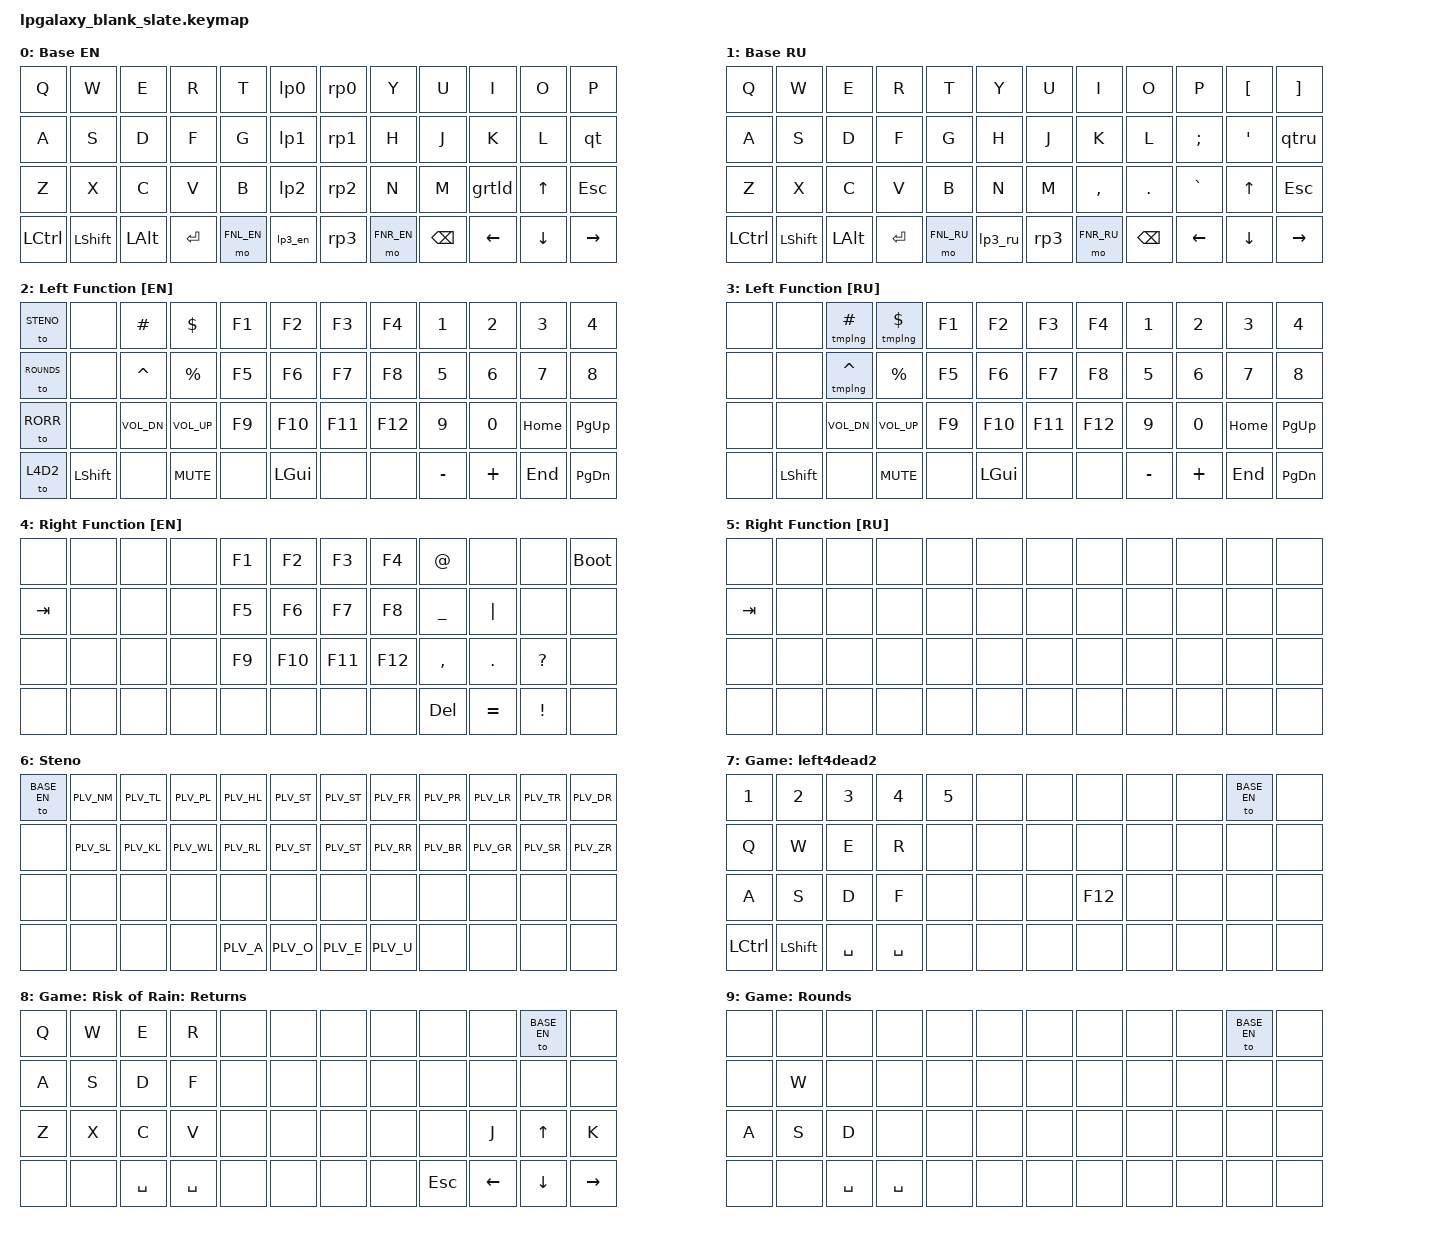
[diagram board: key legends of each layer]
/*
 * Copyright (c) 2022 Pete Johanson
 *
 * SPDX-License-Identifier: MIT
 */

#include <behaviors.dtsi>
#include <dt-bindings/zmk/keys.h>
#include <dt-bindings/zmk/bt.h>
#include <dt-bindings/zmk/outputs.h>

#define MACRO_PLACEHOLDER 0

#define BASE_EN 0
#define BASE_RU 1
#define FNL_EN 2
#define FNL_RU 3
#define FNR_EN 4
#define FNR_RU 5
#define STENO 6
#define L4D2 7
#define RORR 8
#define ROUNDS 9

// Using layer taps on thumbs, having quick tap as well helps w/ repeating space/backspace
&lt { quick_tap_ms = <200>; };

#define BT(n) BT_SEL n

/ {
    chosen {
         zmk,matrix_transform = &ortho_transform;
    };

    macros {
        swlng: switch_language {
            compatible = "zmk,behavior-macro-one-param";
            #binding-cells = <1>;
            bindings
                = <&macro_param_1to1>
                , <&to MACRO_PLACEHOLDER>
                , <&macro_tap &kp CAPS>
                ;
        };

        tmplng: with_temporary_language_switch {
            compatible = "zmk,behavior-macro-one-param";
            #binding-cells = <1>;
            wait-ms = <40>;
            tap-ms = <40>;
            bindings
                = <&macro_tap &kp CAPS>
                , <&macro_param_1to1>
                , <&kp MACRO_PLACEHOLDER>
                , <&macro_tap &kp CAPS>
                ;
        };
    };

    behaviors {
        lp0: left_paired_0 {
            compatible = "zmk,behavior-mod-morph";
            #binding-cells = <0>;
            bindings = <&kp LPAR>, <&kp LT>;
            mods = <(MOD_LSFT|MOD_RSFT)>;
        };

        rp0: right_paired_0 {
            compatible = "zmk,behavior-mod-morph";
            #binding-cells = <0>;
            bindings = <&kp RPAR>, <&kp GT>;
            mods = <(MOD_LSFT|MOD_RSFT)>;
        };

        lp1: left_paired_1 {
            compatible = "zmk,behavior-mod-morph";
            #binding-cells = <0>;
            bindings = <&kp LBRC>, <&kp LBKT>;
            mods = <(MOD_LSFT|MOD_RSFT)>;
        };

        rp1: right_paired_1 {
            compatible = "zmk,behavior-mod-morph";
            #binding-cells = <0>;
            bindings = <&kp RBRC>, <&kp RBKT>;
            mods = <(MOD_LSFT|MOD_RSFT)>;
        };

        lp2: left_paired_2 {
            compatible = "zmk,behavior-mod-morph";
            #binding-cells = <0>;
            bindings = <&kp COLON>, <&kp SLASH>;
            mods = <(MOD_LSFT|MOD_RSFT)>;
        };

        rp2: right_paired_2 {
            compatible = "zmk,behavior-mod-morph";
            #binding-cells = <0>;
            bindings = <&kp SEMI>, <&kp BACKSLASH>;
            mods = <(MOD_LSFT|MOD_RSFT)>;
        };

        lp3_en: left_paired_3_en {
            compatible = "zmk,behavior-mod-morph";
            #binding-cells = <0>;
            bindings = <&swlng BASE_RU>, <&kp AMPS>;
            mods = <(MOD_LSFT|MOD_RSFT)>;
        };

        lp3_ru: left_paired_3_ru {
            compatible = "zmk,behavior-mod-morph";
            #binding-cells = <0>;
            bindings = <&swlng BASE_EN>, <&kp AMPS>;
            mods = <(MOD_LSFT|MOD_RSFT)>;
        };

        rp3: right_paired_3 {
            compatible = "zmk,behavior-mod-morph";
            #binding-cells = <0>;
            bindings = <&kp SPACE>, <&kp STAR>;
            mods = <(MOD_LSFT|MOD_RSFT)>;
        };

        qt: quotes {
            compatible = "zmk,behavior-mod-morph";
            #binding-cells = <0>;
            bindings = <&kp DQT>, <&kp SQT>;
            mods = <(MOD_LSFT|MOD_RSFT)>;
        };

        qtru: quotes_ru {
            compatible = "zmk,behavior-mod-morph";
            #binding-cells = <0>;
            bindings = <&kp LS(N2)>, <&none>; // FIXME: single quote is now writable on йцукен
            mods = <(MOD_LSFT|MOD_RSFT)>;
        };

        grtld: grave_n_tilde {
            compatible = "zmk,behavior-mod-morph";
            #binding-cells = <0>;
            bindings = <&kp GRAVE>, <&kp TILDE>;
            mods = <(MOD_LSFT|MOD_RSFT)>;
        };
    };

    keymap {
        compatible = "zmk,keymap";

        base_en_layer {
            label = "Base EN";
            bindings = <
 &kp Q      &kp W       &kp E      &kp R       &kp T        &lp0    &rp0   &kp Y          &kp U       &kp I     &kp O         &kp P
 &kp A      &kp S       &kp D      &kp F       &kp G        &lp1    &rp1   &kp H          &kp J       &kp K     &kp L         &qt
 &kp Z      &kp X       &kp C      &kp V       &kp B        &lp2    &rp2   &kp N          &kp M       &grtld    &kp UP        &kp ESC
 &kp LCTRL  &kp LSHIFT  &kp LALT   &kp ENTER   &mo FNL_EN   &lp3_en &rp3   &mo FNR_EN     &kp BSPC    &kp LEFT  &kp DOWN      &kp RIGHT
            >;
        };

        base_ru_layer {
            label = "Base RU";
            bindings = <
 &kp Q      &kp W       &kp E      &kp R       &kp T        &kp Y     &kp U   &kp I        &kp O       &kp P     &kp LBKT   &kp RBKT
 &kp A      &kp S       &kp D      &kp F       &kp G        &kp H     &kp J   &kp K        &kp L       &kp SEMI  &kp SQT    &qtru
 &kp Z      &kp X       &kp C      &kp V       &kp B        &kp N     &kp M   &kp COMMA    &kp DOT     &kp GRAVE &kp UP     &kp ESC
 &kp LCTRL  &kp LSHIFT  &kp LALT   &kp ENTER   &mo FNL_RU   &lp3_ru   &rp3    &mo FNR_RU   &kp BSPC    &kp LEFT  &kp DOWN   &kp RIGHT
            >;
        };

        left_function_en_layer {
            label = "Left Function [EN]";
            bindings = <
&to STENO  &none      &kp HASH      &kp DOLLAR  &kp F1     &kp F2     &kp F3     &kp F4     &kp N1     &kp N2     &kp N3     &kp N4
&to ROUNDS &none      &kp CARET     &kp PERCENT     &kp F5     &kp F6     &kp F7     &kp F8     &kp N5     &kp N6     &kp N7     &kp N8
&to RORR   &none      &kp C_VOL_DN  &kp C_VOL_UP    &kp F9     &kp F10    &kp F11    &kp F12    &kp N9     &kp N0     &kp HOME   &kp PG_UP
&to L4D2   &kp LSHFT  &none         &kp C_MUTE      &none      &kp LGUI   &none      &none      &kp MINUS  &kp PLUS   &kp END    &kp PG_DN
            >;
        };

        left_function_ru_layer {
            label = "Left Function [RU]";
            bindings = <
&none      &none      &tmplng HASH  &tmplng DOLLAR  &kp F1     &kp F2     &kp F3     &kp F4     &kp N1     &kp N2     &kp N3     &kp N4
&none      &none      &tmplng CARET &kp PERCENT     &kp F5     &kp F6     &kp F7     &kp F8     &kp N5     &kp N6     &kp N7     &kp N8
&none      &none      &kp C_VOL_DN  &kp C_VOL_UP    &kp F9     &kp F10    &kp F11    &kp F12    &kp N9     &kp N0     &kp HOME   &kp PG_UP
&none      &kp LSHFT  &none         &kp C_MUTE      &none      &kp LGUI   &none      &none      &kp MINUS  &kp PLUS   &kp END    &kp PG_DN
            >;
        };

        right_function_en_layer {
            label = "Right Function [EN]";
            bindings = <
&none      &none      &none      &none      &kp F1     &kp F2     &kp F3     &kp F4     &kp AT     &none        &none     &bootloader
&kp TAB    &none      &none      &none      &kp F5     &kp F6     &kp F7     &kp F8     &kp UNDER  &kp PIPE     &none     &none
&none      &none      &none      &none      &kp F9     &kp F10    &kp F11    &kp F12    &kp COMMA  &kp DOT      &kp QMARK &none
&none      &none      &none      &none      &none      &none      &none      &none      &kp DEL    &kp EQUAL    &kp EXCL  &none
            >;
        };

        right_function_ru_layer {
            label = "Right Function [RU]";
            bindings = <
&none      &none      &none      &none      &none      &none      &none      &none      &none      &none      &none      &none
&kp TAB    &none      &none      &none      &none      &none      &none      &none      &none      &none      &none      &none
&none      &none      &none      &none      &none      &none      &none      &none      &none      &none      &none      &none
&none      &none      &none      &none      &none      &none      &none      &none      &none      &none      &none      &none
            >;
        };

        // See <https://github.com/lazerwalker/zmk-config/blob/10b4fc227eed620ea1d2c492992419886ff89beb/config/corne.keymap#L332-L346>
        steno_layer {
            display-name = "Steno";
            bindings = <
&to BASE_EN &kp PLV_NM &kp PLV_TL &kp PLV_PL &kp PLV_HL &kp PLV_ST   &kp PLV_ST &kp PLV_FR &kp PLV_PR &kp PLV_LR &kp PLV_TR &kp PLV_DR
&none &kp PLV_SL &kp PLV_KL &kp PLV_WL &kp PLV_RL &kp PLV_ST   &kp PLV_ST &kp PLV_RR &kp PLV_BR &kp PLV_GR &kp PLV_SR &kp PLV_ZR
&none      &none      &none      &none      &none      &none      &none      &none      &none      &none      &none      &none
&none      &none      &none      &none &kp PLV_A   &kp PLV_O   &kp PLV_E   &kp PLV_U    &none      &none      &none      &none      
            >;
        };

        game_left4dead2_layer {
            label = "Game: left4dead2";
            bindings = <
&kp N1     &kp N2     &kp N3     &kp N4     &kp N5     &none      &none      &none      &none      &none      &to BASE_EN &none
&kp Q      &kp W      &kp E      &kp R      &none      &none      &none      &none      &none      &none      &none       &none
&kp A      &kp S      &kp D      &kp F      &none      &none      &none      &kp F12    &none      &none      &none       &none
&kp LCTRL  &kp LSHIFT &kp SPACE  &kp SPACE  &none      &none      &none      &none      &none      &none      &none       &none
            >;
        };

        game_risk_or_rain_returns_layer {
            label = "Game: Risk of Rain: Returns";
            bindings = <
&kp Q      &kp W      &kp E      &kp R      &none      &none      &none      &none      &none      &none      &to BASE_EN &none
&kp A      &kp S      &kp D      &kp F      &none      &none      &none      &none      &none      &none      &none       &none
&kp Z      &kp X      &kp C      &kp V      &none      &none      &none      &none      &none      &kp J      &kp UP      &kp K
&none      &none      &kp SPACE  &kp SPACE  &none      &none      &none      &none      &kp ESC    &kp LEFT   &kp DOWN    &kp RIGHT
            >;
        };


        game_rounds_layer {
            label = "Game: Rounds";
            bindings = <
&none      &none      &none      &none      &none      &none      &none      &none      &none      &none      &to BASE_EN &none
&none      &kp W      &none      &none      &none      &none      &none      &none      &none      &none      &none       &none
&kp A      &kp S      &kp D      &none      &none      &none      &none      &none      &none      &none      &none       &none
&none      &none      &kp SPACE  &kp SPACE  &none      &none      &none      &none      &none      &none      &none       &none
            >;
        };
    };
};

